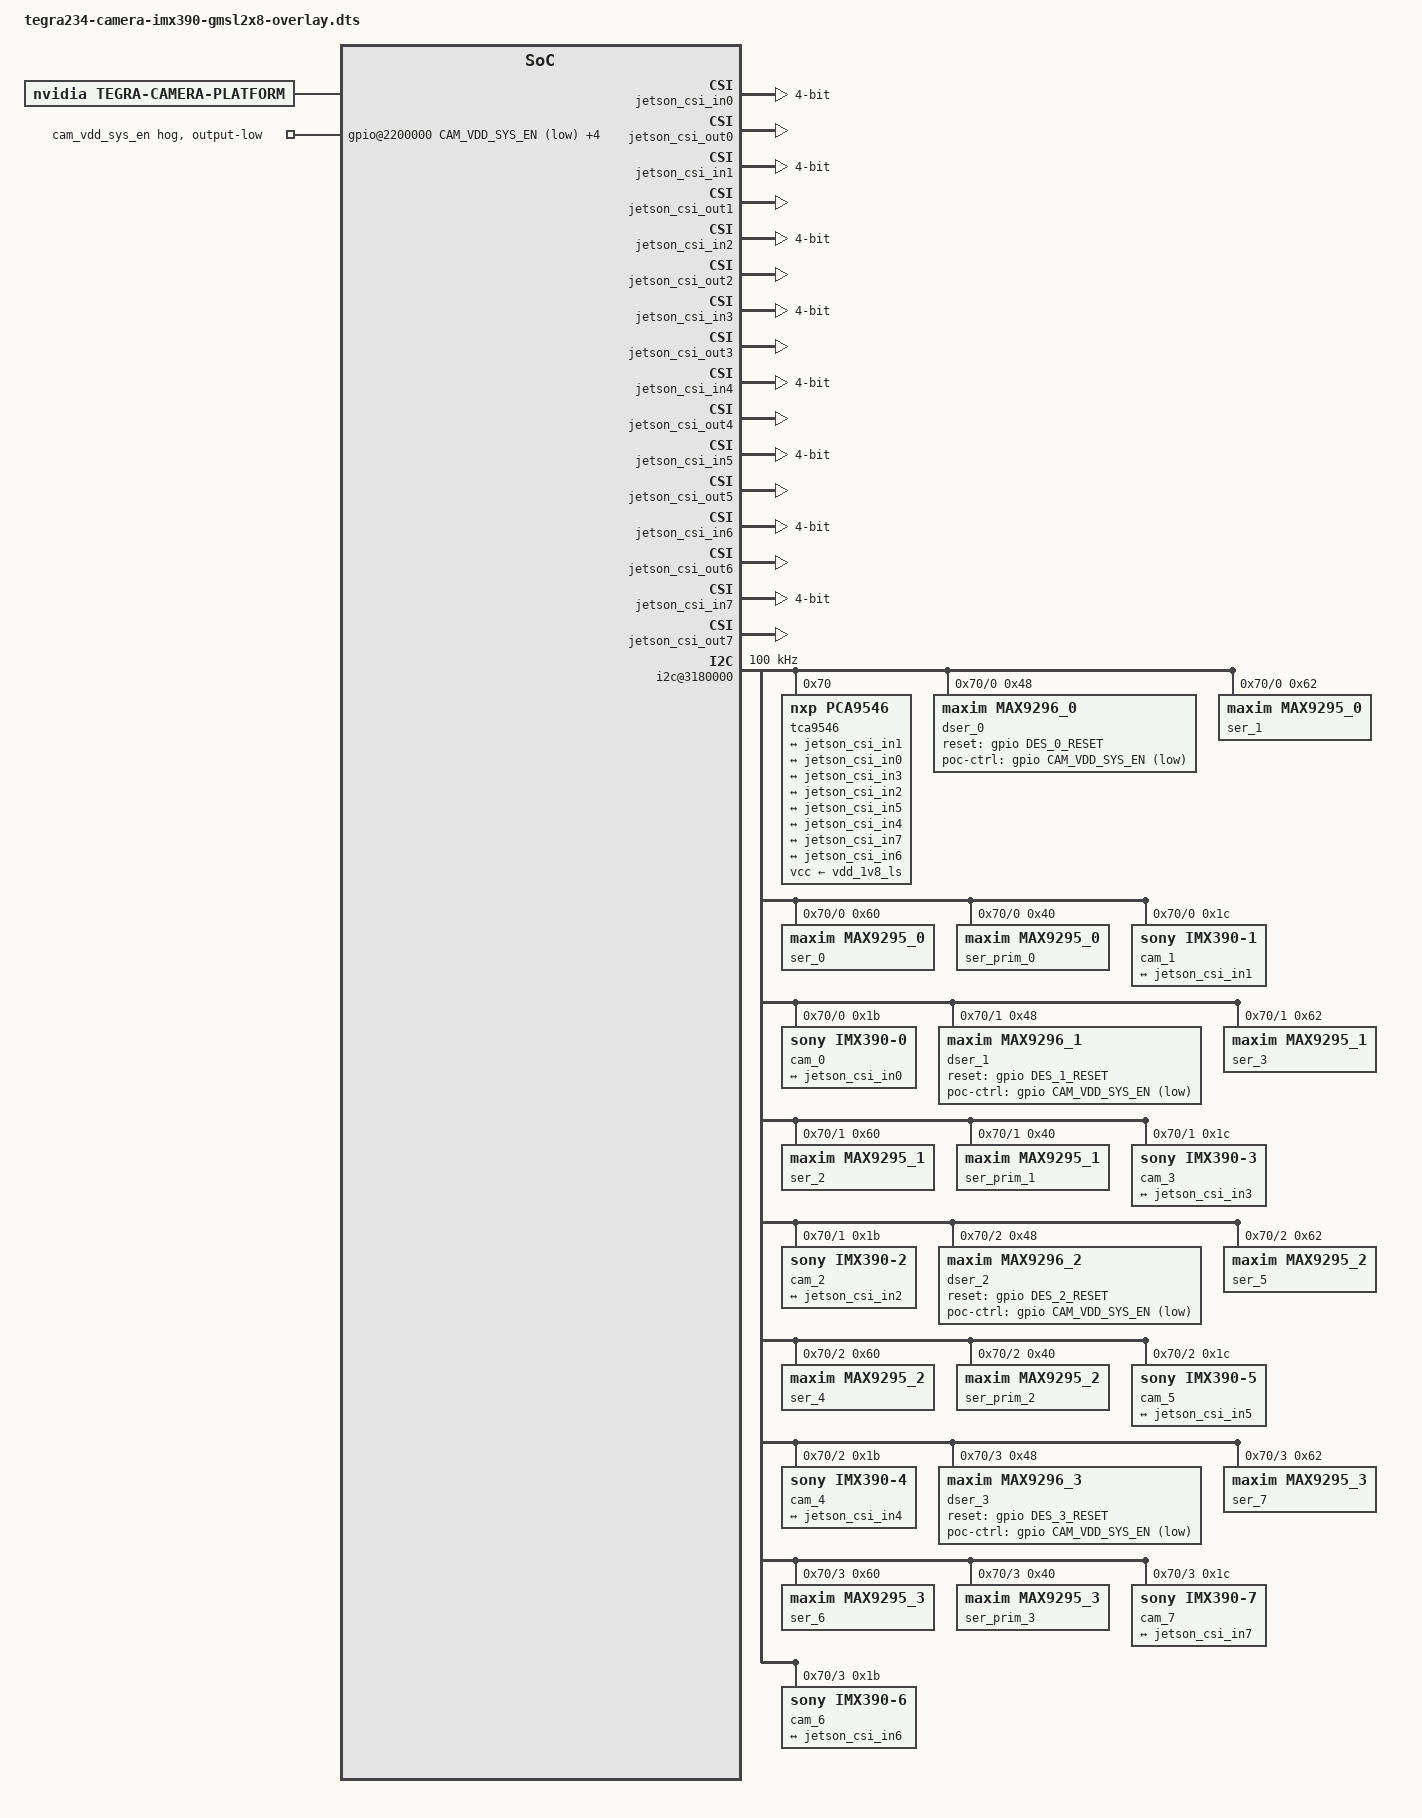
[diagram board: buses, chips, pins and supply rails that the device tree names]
// SPDX-License-Identifier: GPL-2.0-only
// SPDX-FileCopyrightText: Copyright (c) 2018-2023, INTEL CORPORATION.  All rights reserved.

/dts-v1/;
/plugin/;

#include <dt-bindings/clock/tegra234-clock.h>
#include <dt-bindings/gpio/tegra234-gpio.h>
#include <dt-bindings/tegra234-p3737-0000+p3701-0000.h>

#define CAM_VDD_SYS_EN  TEGRA234_MAIN_GPIO(AC, 7)
#define DES_0_RESET		TEGRA234_MAIN_GPIO(H, 6)
#define DES_1_RESET		TEGRA234_MAIN_GPIO(H, 3)
#define DES_3_RESET		TEGRA234_MAIN_GPIO(AC, 1)
#define DES_2_RESET		TEGRA234_MAIN_GPIO(AC, 0)


#define CAMERA_I2C_MUX_BUS(x) (0x1E + x)

/* camera control gpio definitions */
/ {
	overlay-name = "Jetson Sensing IMX390 GMSL2x8";
    jetson-header-name = "Jetson AGX CSI Connector";
    compatible = JETSON_COMPATIBLE;

	fragment@0 {
		target-path = "/";
		__overlay__ {
			tegra-capture-vi {
				num-channels = <8>;
				ports {
					status = "okay";
					port@0 {
						reg = <0>;
						status = "okay";
                        jetson_vi_in0: endpoint {
                            status = "okay";
                            vc-id = <0>;
                            port-index = <0>;
                            bus-width = <4>;
                            remote-endpoint = <&jetson_csi_out0>;
                        };
					};
					port@1 {
						reg = <1>;
						status = "okay";
                        jetson_vi_in1: endpoint {
                            status = "okay";
                            vc-id = <1>;
                            port-index = <0>;
                            bus-width = <4>;
                            remote-endpoint = <&jetson_csi_out1>;
                        };
					};
					port@2 {
						reg = <2>;
						status = "okay";
                        jetson_vi_in2: endpoint {
                            status = "okay";
                            vc-id = <0>;
                            port-index = <2>;
                            bus-width = <4>;
                            remote-endpoint = <&jetson_csi_out2>;
                        };
					};
					port@3 {
						reg = <3>;
						status = "okay";
                        jetson_vi_in3: endpoint {
                            status = "okay";
                            vc-id = <1>;
                            port-index = <2>;
                            bus-width = <4>;
                            remote-endpoint = <&jetson_csi_out3>;
                        };
					};
					port@4 {
						reg = <4>;
						status = "okay";
                        jetson_vi_in4: endpoint {
                            status = "okay";
                            vc-id = <0>;
                            port-index = <4>;
                            bus-width = <4>;
                            remote-endpoint = <&jetson_csi_out4>;
                        };
					};
					port@5 {
						reg = <5>;
						status = "okay";
                        jetson_vi_in5: endpoint {
                            status = "okay";
                            vc-id = <1>;
                            port-index = <4>;
                            bus-width = <4>;
                            remote-endpoint = <&jetson_csi_out5>;
                        };
					};
					port@6 {
						reg = <6>;
						status = "okay";
                        jetson_vi_in6: endpoint {
                            status = "okay";
                            vc-id = <0>;
                            port-index = <5>;
                            bus-width = <4>;
                            remote-endpoint = <&jetson_csi_out6>;
                        };
					};
					port@7 {
						reg = <7>;
						status = "okay";
                        jetson_vi_in7: endpoint {
                            status = "okay";
                            vc-id = <1>;
                            port-index = <5>;
                            bus-width = <4>;
                            remote-endpoint = <&jetson_csi_out7>;
                        };
					};
				};
			};
            
			tegra-camera-platform {
				compatible = "nvidia, tegra-camera-platform";

                num_csi_lanes = <16>;
                max_lane_speed = <4000000>;
                min_bits_per_pixel = <10>;
                vi_peak_byte_per_pixel = <2>;
                vi_bw_margin_pct = <25>;
                isp_peak_byte_per_pixel = <5>;
                isp_bw_margin_pct = <25>;

				modules {
					status = "okay";
					module0 {
						status = "okay";
                        badge = "cam0_bottomleft";
                        position = "bottomleft";
                        orientation = "1";
						drivernode0 {
							status = "okay";
							pcl_id = "v4l2_sensor";
                            sysfs-device-tree = "/sys/firmware/devicetree/base/bus@0/i2c@3180000/tca9546@70/i2c@0/cam_0@1b";
						};
					};
					module1 {
						status = "okay";
                        badge = "cam1_bottomright";
                        position = "bottomright";
                        orientation = "1";
						drivernode0 {
							status = "okay";
							pcl_id = "v4l2_sensor";
					        sysfs-device-tree = "/sys/firmware/devicetree/base/bus@0/i2c@3180000/tca9546@70/i2c@0/cam_1@1c";
						};
					};
					module2 {
						status = "okay";
                        badge = "cam2_centerleft";
                        position = "centerleft";
                        orientation = "1";
						drivernode0 {
							status = "okay";
							pcl_id = "v4l2_sensor";
					        sysfs-device-tree = "/sys/firmware/devicetree/base/bus@0/i2c@3180000/tca9546@70/i2c@1/cam_2@1b";
						};
					};
					module3 {
						status = "okay";
                        badge = "cam3_centerright";
                        position = "centerright";
                        orientation = "1";
						drivernode0 {
							status = "okay";
							pcl_id = "v4l2_sensor";
					        sysfs-device-tree = "/sys/firmware/devicetree/base/bus@0/i2c@3180000/tca9546@70/i2c@1/cam_3@1c";
					    };
                    };
                    module4 {
						status = "okay";
                        badge = "cam4_topleft";
                        position = "topleft";
                        orientation = "1";
						drivernode0 {
							status = "okay";
							pcl_id = "v4l2_sensor";
					        sysfs-device-tree = "/sys/firmware/devicetree/base/bus@0/i2c@3180000/tca9546@70/i2c@2/cam_4@1b";
						};
					};
                    module5 {
						status = "okay";
                        badge = "cam5_topright";
                        position = "topright";
                        orientation = "1";
						drivernode0 {
							status = "okay";
							pcl_id = "v4l2_sensor";
					        sysfs-device-tree = "/sys/firmware/devicetree/base/bus@0/i2c@3180000/tca9546@70/i2c@2/cam_5@1c";
						};
					};
					module6 {
						status = "okay";
                        badge = "cam6_front";
                        position = "front";
                        orientation = "1";
						drivernode0 {
							status = "okay";
							pcl_id = "v4l2_sensor";
					        sysfs-device-tree = "/sys/firmware/devicetree/base/bus@0/i2c@3180000/tca9546@70/i2c@3/cam_6@1b";
						};
					};
                    module7 {
						status = "okay";
                        badge = "cam7_rear";
                        position = "rear";
                        orientation = "1";
						drivernode0 {
							status = "okay";
							pcl_id = "v4l2_sensor";
					        sysfs-device-tree = "/sys/firmware/devicetree/base/bus@0/i2c@3180000/tca9546@70/i2c@3/cam_7@1c";
						};
					};
				};
			};

			bus@0 {
				/* set camera gpio direction to output */
				gpio@2200000 {
					camera-control-output-low {
						gpio-hog;
						output-low;
                        gpios = <CAM_VDD_SYS_EN 1 DES_0_RESET 1 DES_1_RESET 1 DES_2_RESET 1 DES_3_RESET 1>; 
                        label = "cam_vdd_sys_en", "cam0_rst", "cam0_pwdn","cam1_rst", "cam1_pwdn";
					};
				};

				host1x@13e00000 {
					nvcsi@15a00000 {
						num-channels = <8>;
						channel@0 {
							reg = <0>;
							status = "okay";
							ports {
								status = "okay";
								port@0 {
									reg = <0>;
									status = "okay";
                                    jetson_csi_in0: endpoint@0 {
                                        status = "okay";
                                        port-index = <0>;
                                        bus-width = <4>;
                                        remote-endpoint = <&sensor_out0>;
                                    };
								};
								port@1 {
									reg = <1>;
									status = "okay";
                                    jetson_csi_out0: endpoint@1 {
                                        status = "okay";
                                        remote-endpoint = <&jetson_vi_in0>;
                                    };
								};
							};
						};
						channel@1 {
							reg = <1>;
							status = "okay";
							ports {
								status = "okay";
								port@0 {
									reg = <0>;
									status = "okay";
                                    jetson_csi_in1: endpoint@2 {
                                        status = "okay";
                                        port-index = <0>;
                                        bus-width = <4>;
                                        remote-endpoint = <&sensor_out1>;
                                    };
								};
								port@1 {
									reg = <1>;
									status = "okay";
                                    jetson_csi_out1: endpoint@3 {
                                        status = "okay";
                                        remote-endpoint = <&jetson_vi_in1>;
                                    };
								};
							};
						};
						channel@2 {
							reg = <2>;
							status = "okay";
							ports {
								status = "okay";
								port@0 {
									reg = <0>;
									status = "okay";
                                    jetson_csi_in2: endpoint@4 {
                                        status = "okay";
                                        port-index = <2>;
                                        bus-width = <4>;
                                        remote-endpoint = <&sensor_out2>;
                                    };
								};
								port@1 {
									reg = <1>;
									status = "okay";
                                    jetson_csi_out2: endpoint@5 {
                                        status = "okay";
                                        remote-endpoint = <&jetson_vi_in2>;
                                    };
								};
							};
						};
						channel@3 {
							reg = <3>;
							status = "okay";
							ports {
								status = "okay";
								port@0 {
									reg = <0>;
									status = "okay";
                                    jetson_csi_in3: endpoint@6 {
                                        status = "okay";
                                        port-index = <2>;
                                        bus-width = <4>;
                                        remote-endpoint = <&sensor_out3>;
                                    };
								};
								port@1 {
									reg = <1>;
									status = "okay";
                                    jetson_csi_out3: endpoint@7 {
                                        status = "okay";
                                        remote-endpoint = <&jetson_vi_in3>;
                                    };
								};
							};
						};
						channel@4 {
							reg = <4>;
							status = "okay";
							ports {
								status = "okay";
								port@0 {
									reg = <0>;
									status = "okay";
                                    jetson_csi_in4: endpoint@8 {
                                        status = "okay";
                                        port-index = <4>;
                                        bus-width = <4>;
                                        remote-endpoint = <&sensor_out4>;
                                    };
								};
								port@1 {
									reg = <1>;
									status = "okay";
                                    jetson_csi_out4: endpoint@9 {
                                        status = "okay";
                                        remote-endpoint = <&jetson_vi_in4>;
                                    };
								};
							};
						};
						channel@5 {
							reg = <5>;
							status = "okay";
							ports {
								status = "okay";
								port@0 {
									reg = <0>;
									status = "okay";
                                    jetson_csi_in5: endpoint@10 {
                                        status = "okay";
                                        port-index = <4>;
                                        bus-width = <4>;
                                        remote-endpoint = <&sensor_out5>;
                                    };
								};
								port@1 {
									reg = <1>;
									status = "okay";
                                    jetson_csi_out5: endpoint@11 {
                                        status = "okay";
                                        remote-endpoint = <&jetson_vi_in5>;
                                    };
								};
							};
						};
						channel@6 {
							reg = <6>;
							status = "okay";
							ports {
								status = "okay";
								port@0 {
									reg = <0>;
									status = "okay";
                                    jetson_csi_in6: endpoint@12 {
                                        status = "okay";
                                        port-index = <6>;
                                        bus-width = <4>;
                                        remote-endpoint = <&sensor_out6>;
                                    };
								};
								port@1 {
									reg = <1>;
									status = "okay";
                                    jetson_csi_out6: endpoint@13 {
                                        status = "okay";
                                        remote-endpoint = <&jetson_vi_in6>;
                                    };
								};
							};
						};
						channel@7 {
							reg = <7>;
							status = "okay";
							ports {
								status = "okay";
								port@0 {
									reg = <0>;
									status = "okay";
                                    jetson_csi_in7: endpoint@14 {
                                        status = "okay";
                                        port-index = <6>;
                                        bus-width = <4>;
                                        remote-endpoint = <&sensor_out7>;
                                    };
								};
								port@1 {
									reg = <1>;
									status = "okay";
                                    jetson_csi_out7: endpoint@15 {
                                        status = "okay";
                                        remote-endpoint = <&jetson_vi_in7>;
                                    };
								};
							};
						};
					};
				};
				i2c@3180000 {
					clock-frequency = <100000>;
					tca9546@70 {
						status = "okay";
						reg = <0x70>;
						compatible = "nxp,pca9546";
						#address-cells = <1>;
						#size-cells = <0>;
						skip_mux_detect = "yes";
						vcc-supply = <&vdd_1v8_ls>;
                        force_bus_start = <CAMERA_I2C_MUX_BUS(0)>;

						i2c@0 {
                            status = "okay";
							reg = <0>;
							i2c-mux,deselect-on-exit;
							#address-cells = <1>;
							#size-cells = <0>;

							dser_0: max9296_0@48 {
								status = "okay";
								reg = <0x48>;
								compatible = "maxim,max9296_0";
								csi-mode = "2x4";
								max-src = <2>;
								reset-gpios = <&gpio DES_0_RESET GPIO_ACTIVE_HIGH>;
                                poc-ctrl = <&gpio CAM_VDD_SYS_EN GPIO_ACTIVE_LOW>;
							};
							ser_1: max9295_1@62 {
								status = "okay";
								compatible = "maxim,max9295_0";
								reg = <0x62>;
								sensing,gmsl-dser-device = <&dser_0>;
							};
							ser_0: max9295_0@60 {
								status = "okay";
								compatible = "maxim,max9295_0";
								reg = <0x60>;
								sensing,gmsl-dser-device = <&dser_0>;
							};
							ser_prim_0: max9295_prim_0@40 {
								status = "okay";
								reg = <0x40>;
								compatible = "maxim,max9295_0";
								is-prim-ser;
							};

							cam_1@1c {
								status = "okay";
								compatible = "sony,imx390-1";
								reg = <0x1c>;
                                def-addr = <0x21>;

								devnode = "video1";
								physical_w = "15.0";
								physical_h = "12.5";
								sensor_model ="imx390";

                                post_crop_frame_drop = "0";
                                use_decibel_gain = "true";

                                /* enable CID_SENSOR_MODE_ID for sensor modes selection */
                                use_sensor_mode_id = "true";

								clocks = <&bpmp TEGRA234_CLK_EXTPERIPH1>,
									<&bpmp TEGRA234_CLK_EXTPERIPH1>;
								clock-names = "extperiph1", "pllp_grtba";
								mclk = "extperiph1";
                                sensing,gmsl-ser-device = <&ser_1>;
						        sensing,gmsl-dser-device = <&dser_0>;
								
                                mode0 {/*mode SENSOR_MODE_1920x2180_CROP_30FPS*/
                                    mclk_khz = "24000";
                                    num_lanes = "4";
                                    tegra_sinterface = "serial_a";
									vc_id = "1";
                                    discontinuous_clk = "no";
                                    dpcm_enable = "false";
                                    cil_settletime = "0";
                                    dynamic_pixel_bit_depth = "12";
                                    csi_pixel_bit_depth = "12";
                                    mode_type = "bayer";
                                    pixel_phase = "rggb";
                                    
                                    active_w = "1920";
                                    active_h = "1080";
                                    readout_orientation = "0";
                                    line_length = "4400";
                                    inherent_gain = "1";
                                    pix_clk_hz = "320000000";
                                    serdes_pix_clk_hz = "600000000";

                                    gain_factor = "10";
                                    min_gain_val = "10"; /* dB */
                                    max_gain_val = "240"; /* dB */
                                    step_gain_val = "1"; /* 0.3 */
                                    default_gain = "10";
                                    min_hdr_ratio = "1";
                                    max_hdr_ratio = "1";
                                    framerate_factor = "1000000";
                                    min_framerate = "30000000";
                                    max_framerate = "30000000";
                                    step_framerate = "1";
                                    default_framerate = "30000000";
                                    exposure_factor = "1000000";
                                    min_exp_time = "59"; /*us, 2 lines*/
                                    max_exp_time = "33333";
                                    step_exp_time = "1";
                                    default_exp_time = "33333";/* us */
                                    embedded_metadata_height = "0";
                                };

								ports {
									#address-cells = <1>;
									#size-cells = <0>;
                                    port@0 {
                                        reg = <0>;
                                        sensor_out1: endpoint {
                                            vc-id = <1>;
                                            port-index = <0>;
                                            bus-width = <4>;
                                            remote-endpoint = <&jetson_csi_in1>;
                                        };
                                    };
								};
                                gmsl-link {
                                    src-csi-port = "b";
                                    dst-csi-port = "a";
                                    serdes-csi-link = "b";
                                    csi-mode = "1x4";
                                    st-vc = <1>;
                                    vc-id = <1>;
                                    num-lanes = <4>;
                                    streams =  "ued-u1", "raw12";
                                };
							};

							cam_0@1b {
								status = "okay";
								compatible = "sony,imx390-0";
								reg = <0x1b>;
                                def-addr = <0x21>;
								
								devnode = "video0";
								physical_w = "15.0";
								physical_h = "12.5";
								sensor_model ="imx390";

                                post_crop_frame_drop = "0";
                                use_decibel_gain = "true";

                                /* enable CID_SENSOR_MODE_ID for sensor modes selection */
                                use_sensor_mode_id = "true";

								/* Define any required hw resources needed by driver */
								/* ie. clocks, io pins, power sources */
								clocks = <&bpmp TEGRA234_CLK_EXTPERIPH1>,
									<&bpmp TEGRA234_CLK_EXTPERIPH1>;
								clock-names = "extperiph1", "pllp_grtba";
								mclk = "extperiph1";
                                sensing,gmsl-ser-device = <&ser_0>;
						        sensing,gmsl-dser-device = <&dser_0>;

                                mode0 {/*mode SENSOR_MODE_1920x2180_CROP_30FPS*/
                                    mclk_khz = "24000";
                                    num_lanes = "4";
                                    tegra_sinterface = "serial_a";
									vc_id = "0";
                                    discontinuous_clk = "no";
                                    dpcm_enable = "false";
                                    cil_settletime = "0";
                                    dynamic_pixel_bit_depth = "12";
                                    csi_pixel_bit_depth = "12";
                                    mode_type = "bayer";
                                    pixel_phase = "rggb";
                                    
                                    active_w = "1920";
                                    active_h = "1080";
                                    readout_orientation = "0";
                                    line_length = "4400";
                                    inherent_gain = "1";
                                    pix_clk_hz = "320000000";
                                    serdes_pix_clk_hz = "600000000";

                                    gain_factor = "10";
                                    min_gain_val = "10"; /* dB */
                                    max_gain_val = "240"; /* dB */
                                    step_gain_val = "1"; /* 0.3 */
                                    default_gain = "10";
                                    min_hdr_ratio = "1";
                                    max_hdr_ratio = "1";
                                    framerate_factor = "1000000";
                                    min_framerate = "30000000";
                                    max_framerate = "30000000";
                                    step_framerate = "1";
                                    default_framerate = "30000000";
                                    exposure_factor = "1000000";
                                    min_exp_time = "59"; /*us, 2 lines*/
                                    max_exp_time = "33333";
                                    step_exp_time = "1";
                                    default_exp_time = "33333";/* us */
                                    embedded_metadata_height = "0";
                                };

								ports {
									#address-cells = <1>;
									#size-cells = <0>;
                                    port@0 {
                                        reg = <0>;
                                        sensor_out0: endpoint {
                                            vc-id = <0>;
                                            port-index = <0>;
                                            bus-width = <4>;
                                            remote-endpoint = <&jetson_csi_in0>;
                                        };
                                    };
								};
                                gmsl-link {
                                    src-csi-port = "b";
                                    dst-csi-port = "a";
                                    serdes-csi-link = "a";
                                    csi-mode = "1x4";
                                    st-vc = <0>;
                                    vc-id = <0>;
                                    num-lanes = <4>;
                                    streams = "ued-u1","raw12";
                                };
							};

						};
						i2c@1 {
							status = "okay";
							reg = <1>;
							i2c-mux,deselect-on-exit;
							#address-cells = <1>;
							#size-cells = <0>;
							
                            dser_1: max9296_1@48 {
                                status = "okay";
                                compatible = "maxim,max9296_1";
                                reg = <0x48>;
                                csi-mode = "2x4";
                                max-src = <2>;
                                reset-gpios = <&gpio DES_1_RESET GPIO_ACTIVE_HIGH>;
                                poc-ctrl = <&gpio CAM_VDD_SYS_EN GPIO_ACTIVE_LOW>;
                            };
                            ser_3: max9295_3@62 {
                                status = "okay";
                                compatible = "maxim,max9295_1";
                                reg = <0x62>;
                                sensing,gmsl-dser-device = <&dser_1>;
                            };
                            ser_2: max9295_2@60 {
                                status = "okay";
                                compatible = "maxim,max9295_1";
                                reg = <0x60>;
                                sensing,gmsl-dser-device = <&dser_1>;
                            };
                            ser_prim_1: max9295_prim_1@40{
                                status = "okay";
                                compatible = "maxim,max9295_1";
                                reg = <0x40>;
                                is-prim-ser;
                            };

							cam_3@1c {
								status = "okay";
								compatible = "sony,imx390-3";
								reg = <0x1c>;
                                def-addr = <0x21>;
								
								devnode = "video3";
								physical_w = "15.0";
								physical_h = "12.5";
								sensor_model ="imx390";

                                post_crop_frame_drop = "0";
                                use_decibel_gain = "true";

                                /* enable CID_SENSOR_MODE_ID for sensor modes selection */
                                use_sensor_mode_id = "true";

								clocks = <&bpmp TEGRA234_CLK_EXTPERIPH1>,
									<&bpmp TEGRA234_CLK_EXTPERIPH1>;
								clock-names = "extperiph1", "pllp_grtba";
								mclk = "extperiph1";
                                sensing,gmsl-ser-device = <&ser_3>;
                                sensing,gmsl-dser-device = <&dser_1>;
								
                                mode0 {/*mode SENSOR_MODE_1920x2180_CROP_30FPS*/
                                    mclk_khz = "24000";
                                    num_lanes = "4";
                                    tegra_sinterface = "serial_c";
                                    vc_id = "1";
                                    discontinuous_clk = "no";
                                    dpcm_enable = "false";
                                    cil_settletime = "0";
                                    dynamic_pixel_bit_depth = "12";
                                    csi_pixel_bit_depth = "12";
                                    mode_type = "bayer";
                                    pixel_phase = "rggb";
                                    
                                    active_w = "1920";
                                    active_h = "1080";
                                    readout_orientation = "0";
                                    line_length = "4400";
                                    inherent_gain = "1";
                                    pix_clk_hz = "320000000";
                                    serdes_pix_clk_hz = "600000000";

                                    gain_factor = "10";
                                    min_gain_val = "10"; /* dB */
                                    max_gain_val = "240"; /* dB */
                                    step_gain_val = "1"; /* 0.3 */
                                    default_gain = "10";
                                    min_hdr_ratio = "1";
                                    max_hdr_ratio = "1";
									framerate_factor = "1000000";
                                    min_framerate = "30000000";
                                    max_framerate = "30000000";
									step_framerate = "1";
                                    default_framerate = "30000000";
									exposure_factor = "1000000";
                                    min_exp_time = "59"; /*us, 2 lines*/
                                    max_exp_time = "33333";
									step_exp_time = "1";
                                    default_exp_time = "33333";/* us */
									embedded_metadata_height = "0";
                                };

								ports {
									#address-cells = <1>;
									#size-cells = <0>;
									port@0 {
										reg = <0>;
                                        sensor_out3: endpoint {
                                            vc-id = <1>;
                                            port-index = <2>;
                                            bus-width = <4>;
                                            remote-endpoint = <&jetson_csi_in3>;
                                        };
									};
								};
                                gmsl-link {
                                    src-csi-port = "b";
                                    dst-csi-port = "a";
                                    serdes-csi-link = "b";
                                    csi-mode = "1x4";
                                    st-vc = <1>;
                                    vc-id = <1>;
                                    num-lanes = <4>;
                                    streams = "ued-u1", "raw12";
                                };
							};

							cam_2@1b {
								status = "okay";
								compatible = "sony,imx390-2";
								reg = <0x1b>;
                                def-addr = <0x21>;
								
								devnode = "video2";
								physical_w = "15.0";
								physical_h = "12.5";
								sensor_model ="imx390";

                                post_crop_frame_drop = "0";
                                use_decibel_gain = "true";

                                /* enable CID_SENSOR_MODE_ID for sensor modes selection */
                                use_sensor_mode_id = "true";

								/* Define any required hw resources needed by driver */
								/* ie. clocks, io pins, power sources */
								clocks = <&bpmp TEGRA234_CLK_EXTPERIPH1>,
									<&bpmp TEGRA234_CLK_EXTPERIPH1>;
								clock-names = "extperiph1", "pllp_grtba";
								mclk = "extperiph1";
                                sensing,gmsl-ser-device = <&ser_2>;
                                sensing,gmsl-dser-device = <&dser_1>;

                                mode0 {/*mode SENSOR_MODE_1920x2180_CROP_30FPS*/
                                    mclk_khz = "24000";
                                    num_lanes = "4";
                                    tegra_sinterface = "serial_c";
									vc_id = "0";
                                    discontinuous_clk = "no";
                                    dpcm_enable = "false";
                                    cil_settletime = "0";
                                    dynamic_pixel_bit_depth = "12";
                                    csi_pixel_bit_depth = "12";
                                    mode_type = "bayer";
                                    pixel_phase = "rggb";
                                    
                                    active_w = "1920";
                                    active_h = "1080";
                                    readout_orientation = "0";
                                    line_length = "4400";
                                    inherent_gain = "1";
                                    pix_clk_hz = "320000000";
                                    serdes_pix_clk_hz = "600000000";

									gain_factor = "10";
                                    min_gain_val = "10"; /* dB */
                                    max_gain_val = "240"; /* dB */
                                    step_gain_val = "1"; /* 0.3 */
                                    default_gain = "10";
                                    min_hdr_ratio = "1";
                                    max_hdr_ratio = "1";
									framerate_factor = "1000000";
                                    min_framerate = "30000000";
                                    max_framerate = "30000000";
									step_framerate = "1";
                                    default_framerate = "30000000";
									exposure_factor = "1000000";
                                    min_exp_time = "59"; /*us, 2 lines*/
                                    max_exp_time = "33333";
									step_exp_time = "1";
                                    default_exp_time = "33333";/* us */
									embedded_metadata_height = "0";
                                };

								ports {
									#address-cells = <1>;
									#size-cells = <0>;
									port@0 {
										reg = <0>;
                                        sensor_out2: endpoint {
                                            vc-id = <0>;
                                            port-index = <2>;
                                            bus-width = <4>;
                                            remote-endpoint = <&jetson_csi_in2>;
                                        };
									};
								};
                                gmsl-link {
                                    src-csi-port = "b";
                                    dst-csi-port = "a";
                                    serdes-csi-link = "a";
                                    csi-mode = "1x4";
                                    st-vc = <0>;
                                    vc-id = <0>;
                                    num-lanes = <4>;
                                    streams = "ued-u1","raw12";
                                };                                
							};
						};
						i2c@2 {
							status = "okay";
							reg = <2>;
							i2c-mux,deselect-on-exit;
							#address-cells = <1>;
							#size-cells = <0>;
							
                            dser_2: max9296_2@48 {
                                status = "okay";
                                compatible = "maxim,max9296_2";
                                reg = <0x48>;
                                csi-mode = "2x4";
                                max-src = <2>;
                                reset-gpios = <&gpio DES_2_RESET GPIO_ACTIVE_HIGH>;
                                poc-ctrl = <&gpio CAM_VDD_SYS_EN GPIO_ACTIVE_LOW>;
                            };
                            ser_5: max9295_5@62 {
                                status = "okay";
                                compatible = "maxim,max9295_2";
                                reg = <0x62>;
                                sensing,gmsl-dser-device = <&dser_2>;
                            };
                            ser_4: max9295_4@60 {
                                status = "okay";
                                compatible = "maxim,max9295_2";
                                reg = <0x60>;
                                sensing,gmsl-dser-device = <&dser_2>;
                            };
                            ser_prim_2: max9295_prim_2@40{
                                status = "okay";
                                compatible = "maxim,max9295_2";
                                reg = <0x40>;
                                is-prim-ser;
                            };

							cam_5@1c {
								status = "okay";
								compatible = "sony,imx390-5";
								reg = <0x1c>;
                                def-addr = <0x21>;
								
								devnode = "video5";
								physical_w = "15.0";
								physical_h = "12.5";
								sensor_model ="imx390";

                                post_crop_frame_drop = "0";
                                use_decibel_gain = "true";

                                /* enable CID_SENSOR_MODE_ID for sensor modes selection */
                                use_sensor_mode_id = "true";
                                
								clocks = <&bpmp TEGRA234_CLK_EXTPERIPH1>,
									<&bpmp TEGRA234_CLK_EXTPERIPH1>;
								clock-names = "extperiph1", "pllp_grtba";
								mclk = "extperiph1";
						        sensing,gmsl-ser-device = <&ser_5>;
                                sensing,gmsl-dser-device = <&dser_2>;
								
                                mode0 {/*mode SENSOR_MODE_1920x2180_CROP_30FPS*/
                                    mclk_khz = "24000";
                                    num_lanes = "4";
                                    tegra_sinterface = "serial_e";
                                    vc_id = "1";
									discontinuous_clk = "no";
									dpcm_enable = "false";
									cil_settletime = "0";
                                    dynamic_pixel_bit_depth = "12";
									csi_pixel_bit_depth = "12";
									mode_type = "bayer";
									pixel_phase = "rggb";

                                    active_w = "1920";
                                    active_h = "1080";
									readout_orientation = "0";
                                    line_length = "4400";
									inherent_gain = "1";
									pix_clk_hz = "320000000";
									serdes_pix_clk_hz = "600000000";

									gain_factor = "10";
                                    min_gain_val = "10"; /* dB */
                                    max_gain_val = "240"; /* dB */
                                    step_gain_val = "1"; /* 0.3 */
                                    default_gain = "10";
                                    min_hdr_ratio = "1";
                                    max_hdr_ratio = "1";
									framerate_factor = "1000000";
                                    min_framerate = "30000000";
                                    max_framerate = "30000000";
									step_framerate = "1";
                                    default_framerate = "30000000";
									exposure_factor = "1000000";
                                    min_exp_time = "59"; /*us, 2 lines*/
                                    max_exp_time = "33333";
									step_exp_time = "1";
                                    default_exp_time = "33333";/* us */
									embedded_metadata_height = "0";
                                };

								ports {
									#address-cells = <1>;
									#size-cells = <0>;
									port@0 {
										reg = <0>;
                                        sensor_out5: endpoint {
                                            vc-id = <1>;
                                            port-index = <4>;
                                            bus-width = <4>;
                                            remote-endpoint = <&jetson_csi_in5>;
                                        };
									};
								};
                                gmsl-link {
                                    src-csi-port = "b";
                                    dst-csi-port = "a";
                                    serdes-csi-link = "b";
                                    csi-mode = "1x4";
                                    st-vc = <1>;
                                    vc-id = <1>;
                                    num-lanes = <4>;
                                    streams =  "ued-u1", "raw12";
								};
							};

							cam_4@1b {
								status = "okay";
								compatible = "sony,imx390-4";
								reg = <0x1b>;
                                def-addr = <0x21>;
								
								devnode = "video4";
								physical_w = "15.0";
								physical_h = "12.5";
								sensor_model ="imx390";

                                post_crop_frame_drop = "0";
                                use_decibel_gain = "true";
                                
                                /* enable CID_SENSOR_MODE_ID for sensor modes selection */
                                use_sensor_mode_id = "true";

								/* Define any required hw resources needed by driver */
								/* ie. clocks, io pins, power sources */
								clocks = <&bpmp TEGRA234_CLK_EXTPERIPH1>,
									<&bpmp TEGRA234_CLK_EXTPERIPH1>;
								clock-names = "extperiph1", "pllp_grtba";
								mclk = "extperiph1";
                                sensing,gmsl-ser-device = <&ser_4>;
                                sensing,gmsl-dser-device = <&dser_2>;

                                mode0 {/*mode SENSOR_MODE_1920x2180_CROP_30FPS*/
                                    mclk_khz = "24000";
                                    num_lanes = "4";
                                    tegra_sinterface = "serial_e";
                                    vc_id = "0";
									discontinuous_clk = "no";
									dpcm_enable = "false";
									cil_settletime = "0";
                                    dynamic_pixel_bit_depth = "12";
									csi_pixel_bit_depth = "12";
									mode_type = "bayer";
									pixel_phase = "rggb";

                                    active_w = "1920";
                                    active_h = "1080";
									readout_orientation = "0";
                                    line_length = "4400";
									inherent_gain = "1";
									pix_clk_hz = "320000000";
									serdes_pix_clk_hz = "600000000";

									gain_factor = "10";
                                    min_gain_val = "10"; /* dB */
                                    max_gain_val = "240"; /* dB */
                                    step_gain_val = "1"; /* 0.3 */
                                    default_gain = "10";
                                    min_hdr_ratio = "1";
                                    max_hdr_ratio = "1";
									framerate_factor = "1000000";
                                    min_framerate = "30000000";
                                    max_framerate = "30000000";
									step_framerate = "1";
                                    default_framerate = "30000000";
									exposure_factor = "1000000";
                                    min_exp_time = "59"; /*us, 2 lines*/
                                    max_exp_time = "33333";
									step_exp_time = "1";
                                    default_exp_time = "33333";/* us */
									embedded_metadata_height = "0";
                                };

								ports {
									#address-cells = <1>;
									#size-cells = <0>;
									port@0 {
										reg = <0>;
                                        sensor_out4: endpoint {
                                            vc-id = <0>;
                                            port-index = <4>;
                                            bus-width = <4>;
                                            remote-endpoint = <&jetson_csi_in4>;
                                        };
									};
								};
                                gmsl-link {
                                    src-csi-port = "b";
                                    dst-csi-port = "a";
                                    serdes-csi-link = "a";
                                    csi-mode = "1x4";
                                    st-vc = <0>;
                                    vc-id = <0>;
                                    num-lanes = <4>;
                                    streams = "ued-u1","raw12";
                                };                                
							};
                            
						};
						i2c@3 {
							status = "okay";
							reg = <3>;
							i2c-mux,deselect-on-exit;
							#address-cells = <1>;
							#size-cells = <0>;
							
                            dser_3: max9296_3@48 {
                                status = "okay";
                                compatible = "maxim,max9296_3";
                                reg = <0x48>;
                                csi-mode = "2x4";
                                max-src = <2>;
                                reset-gpios = <&gpio DES_3_RESET GPIO_ACTIVE_HIGH>;
                                poc-ctrl = <&gpio CAM_VDD_SYS_EN GPIO_ACTIVE_LOW>;
                            };
                            ser_7: max9295_7@62 {
                                status = "okay";
                                compatible = "maxim,max9295_3";
                                reg = <0x62>;
                                sensing,gmsl-dser-device = <&dser_3>;
                            };
                            ser_6: max9295_6@60 {
                                status = "okay";
                                compatible = "maxim,max9295_3";
                                reg = <0x60>;
                                sensing,gmsl-dser-device = <&dser_3>;
                            };
                            ser_prim_3: max9295_prim_3@40{
                                status = "okay";
                                compatible = "maxim,max9295_3";
                                reg = <0x40>;
                                is-prim-ser;
                            };
							cam_7@1c {
								status = "okay";
								compatible = "sony,imx390-7";
								reg = <0x1c>;
                                def-addr = <0x21>;
								
								devnode = "video7";
								physical_w = "15.0";
								physical_h = "12.5";
								sensor_model ="imx390";

                                post_crop_frame_drop = "0";
                                use_decibel_gain = "true";

                                /* enable CID_SENSOR_MODE_ID for sensor modes selection */
                                use_sensor_mode_id = "true";
                                
								clocks = <&bpmp TEGRA234_CLK_EXTPERIPH1>,
									<&bpmp TEGRA234_CLK_EXTPERIPH1>;
								clock-names = "extperiph1", "pllp_grtba";
								mclk = "extperiph1";
                                sensing,gmsl-ser-device = <&ser_7>;
                                sensing,gmsl-dser-device = <&dser_3>;
								
                                mode0 {/*mode SENSOR_MODE_1920x2180_CROP_30FPS*/
                                    mclk_khz = "24000";
                                    num_lanes = "4";
                                    tegra_sinterface = "serial_g";
                                    vc_id = "1";
									discontinuous_clk = "no";
									dpcm_enable = "false";
									cil_settletime = "0";
                                    dynamic_pixel_bit_depth = "12";
									csi_pixel_bit_depth = "12";
									mode_type = "bayer";
									pixel_phase = "rggb";

                                    active_w = "1920";
                                    active_h = "1080";
									readout_orientation = "0";
                                    line_length = "4400";
									inherent_gain = "1";
									pix_clk_hz = "320000000";
									serdes_pix_clk_hz = "600000000";

									gain_factor = "10";
                                    min_gain_val = "10"; /* dB */
                                    max_gain_val = "240"; /* dB */
                                    step_gain_val = "1"; /* 0.3 */
                                    default_gain = "10";
                                    min_hdr_ratio = "1";
                                    max_hdr_ratio = "1";
									framerate_factor = "1000000";
                                    min_framerate = "30000000";
                                    max_framerate = "30000000";
									step_framerate = "1";
                                    default_framerate = "30000000";
									exposure_factor = "1000000";
                                    min_exp_time = "59"; /*us, 2 lines*/
                                    max_exp_time = "33333";
									step_exp_time = "1";
                                    default_exp_time = "33333";/* us */
									embedded_metadata_height = "0";
                                };

								ports {
									#address-cells = <1>;
									#size-cells = <0>;
									port@0 {
										reg = <0>;
                                        sensor_out7: endpoint {
                                            vc-id = <1>;
                                            port-index = <6>;
                                            bus-width = <4>;
                                            remote-endpoint = <&jetson_csi_in7>;
                                        };
									};
								};
                                gmsl-link {
                                    src-csi-port = "b";
                                    dst-csi-port = "a";
                                    serdes-csi-link = "b";
                                    csi-mode = "1x4";
                                    st-vc = <1>;
                                    vc-id = <1>;
                                    num-lanes = <4>;
                                    streams = "ued-u1", "raw12";
								};
							};

							cam_6@1b {
								status = "okay";
								compatible = "sony,imx390-6";
								reg = <0x1b>;
                                def-addr = <0x21>;
								
								devnode = "video6";
								physical_w = "15.0";
								physical_h = "12.5";
								sensor_model ="imx390";

                                post_crop_frame_drop = "0";
                                use_decibel_gain = "true";

                                /* enable CID_SENSOR_MODE_ID for sensor modes selection */
                                use_sensor_mode_id = "true";

								/* Define any required hw resources needed by driver */
								/* ie. clocks, io pins, power sources */
								clocks = <&bpmp TEGRA234_CLK_EXTPERIPH1>,
									<&bpmp TEGRA234_CLK_EXTPERIPH1>;
								clock-names = "extperiph1", "pllp_grtba";
								mclk = "extperiph1";
                                sensing,gmsl-ser-device = <&ser_6>;
                                sensing,gmsl-dser-device = <&dser_3>;

                                mode0 {/*mode SENSOR_MODE_1920x2180_CROP_30FPS*/
                                    mclk_khz = "24000";
                                    num_lanes = "4";
                                    tegra_sinterface = "serial_g";
                                    vc_id = "0";
									discontinuous_clk = "no";
									dpcm_enable = "false";
									cil_settletime = "0";
                                    dynamic_pixel_bit_depth = "12";
									csi_pixel_bit_depth = "12";
									mode_type = "bayer";
									pixel_phase = "rggb";

                                    active_w = "1920";
                                    active_h = "1080";
									readout_orientation = "0";
                                    line_length = "4400";
									inherent_gain = "1";
									pix_clk_hz = "320000000";
									serdes_pix_clk_hz = "600000000";

									gain_factor = "10";
                                    min_gain_val = "10"; /* dB */
                                    max_gain_val = "240"; /* dB */
                                    step_gain_val = "1"; /* 0.3 */
                                    default_gain = "10";
                                    min_hdr_ratio = "1";
                                    max_hdr_ratio = "1";
									framerate_factor = "1000000";
                                    min_framerate = "30000000";
                                    max_framerate = "30000000";
									step_framerate = "1";
                                    default_framerate = "30000000";
									exposure_factor = "1000000";
                                    min_exp_time = "59"; /*us, 2 lines*/
                                    max_exp_time = "33333";
									step_exp_time = "1";
                                    default_exp_time = "33333";/* us */
									embedded_metadata_height = "0";
                                };

								ports {
									#address-cells = <1>;
									#size-cells = <0>;
									port@0 {
										reg = <0>;
                                        sensor_out6: endpoint {
                                            vc-id = <0>;
                                            port-index = <6>;
                                            bus-width = <4>;
                                            remote-endpoint = <&jetson_csi_in6>;
                                        };
									};
								};
                                gmsl-link {
                                    src-csi-port = "b";
                                    dst-csi-port = "a";
                                    serdes-csi-link = "a";
                                    csi-mode = "1x4";
                                    st-vc = <0>;
                                    vc-id = <0>;
                                    num-lanes = <4>;
                                    streams = "ued-u1","raw12";
								};
							};
						};
					};
				};
			};
		};
	};
};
